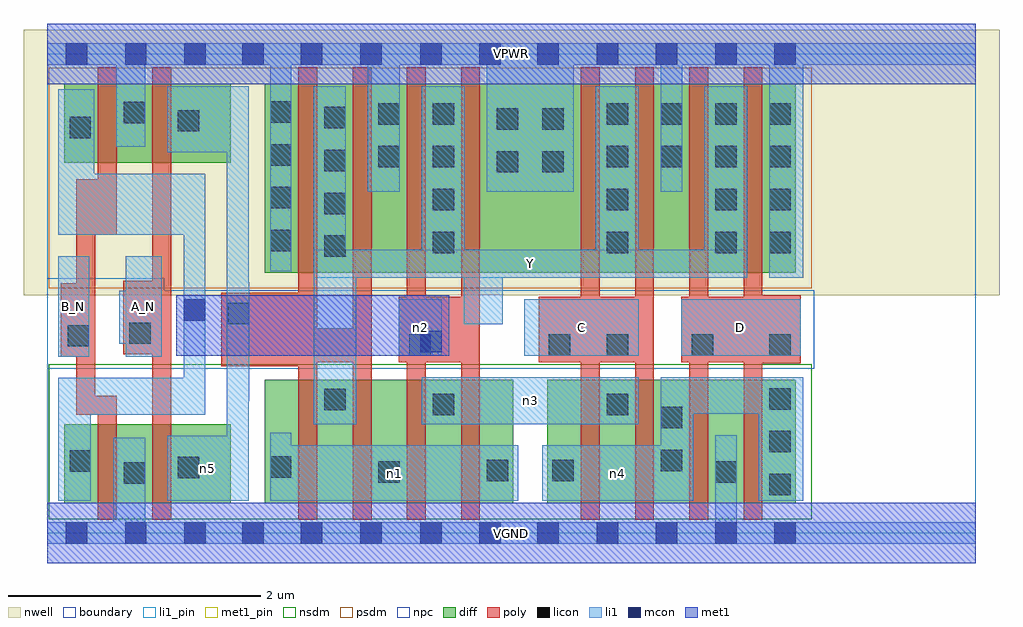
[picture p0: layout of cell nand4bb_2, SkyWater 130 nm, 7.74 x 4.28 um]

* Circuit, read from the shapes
.subckt nand4bb_2 A_N B_N C D VGND VPWR Y n1 n2 n3 n4 n5
XM1 VGND B_N n2 VSUBS sky130_fd_pr__nfet_01v8 w=0.63 l=0.15
XM2 n5 A_N VGND VSUBS sky130_fd_pr__nfet_01v8 w=0.63 l=0.15
XM3 Y n5 n1 VSUBS sky130_fd_pr__nfet_01v8 w=0.98 l=0.15 m=2
XM4 n3 n2 n1 VSUBS sky130_fd_pr__nfet_01v8 w=0.98 l=0.15 m=2
XM5 n3 C n4 VSUBS sky130_fd_pr__nfet_01v8 w=0.98 l=0.15 m=2
XM6 VGND D n4 VSUBS sky130_fd_pr__nfet_01v8 w=0.98 l=0.15 m=2
XM7 VPWR B_N n2 n6 sky130_fd_pr__pfet_01v8 w=0.63 l=0.15
XM8 n5 A_N VPWR n6 sky130_fd_pr__pfet_01v8 w=0.63 l=0.15
XM9 Y n5 VPWR n6 sky130_fd_pr__pfet_01v8 w=1.5 l=0.15 m=2
XM10 Y n2 VPWR n6 sky130_fd_pr__pfet_01v8 w=1.5 l=0.15 m=2
XM11 Y C VPWR n6 sky130_fd_pr__pfet_01v8 w=1.5 l=0.15 m=2
XM12 Y D VPWR n6 sky130_fd_pr__pfet_01v8 w=1.5 l=0.15 m=2
.ends

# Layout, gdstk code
import gdstk
lib = gdstk.Library(unit=1e-6, precision=1e-09)
def R(c, l, rs):  # rectangles x0, y0, x1, y1
    for r in rs: c.add(gdstk.rectangle(r[:2], r[2:], *l))
def A(c, l, x, y, w, h, nx, ny, dx, dy):  # array of equal rectangles
    R(c, l, [(x+i*dx, y+j*dy, x+i*dx+w, y+j*dy+h) for i in range(nx) for j in range(ny)])
nwell = (64, 20)
diff = (65, 20)
poly = (66, 20)
licon = (66, 44)
li1_pin = (67, 16)
li1 = (67, 20)
mcon = (67, 44)
met1_pin = (68, 16)
met1 = (68, 20)
nsdm = (93, 44)
psdm = (94, 20)
npc = (95, 20)
boundary = (235, 4)

nand4bb_2 = lib.new_cell('nand4bb_2')
R(nand4bb_2, nwell, [(-0.19,1.885,7.55,3.99), (0,1.885,7.36,3.99)])
R(nand4bb_2, diff, [(0.135,0.235,1.455,0.865), (1.725,0.235,3.695,1.215), (3.965,0.235,5.935,1.215), (1.725,2.065,5.935,3.565), (0.135,2.935,1.455,3.565)])
A(nand4bb_2, poly, 1.99, 0.105, 0.15, 3.59, 4, 1, 0.43, 0)
A(nand4bb_2, poly, 4.23, 0.105, 0.15, 3.59, 4, 1, 0.43, 0)
R(nand4bb_2, poly, [(0.4,0.105,0.55,1.09), (0.83,0.105,0.98,3.695), (0.23,0.94,0.38,2.805), (0.23,0.94,0.55,1.09), (1.38,1.325,2.14,1.905), (5.52,1.345,5.975,1.885), (1.38,1.355,2.57,1.625), (2.785,1.355,3.43,1.875), (3.895,1.355,4.81,1.875), (5.025,1.355,5.975,1.875), (0.105,1.4,0.38,1.98), (0.6,1.42,0.98,2), (0.23,2.365,0.55,2.805), (0.4,2.365,0.55,3.695)])
A(nand4bb_2, licon, 5.725, 0.3, 0.17, 0.17, 1, 3, 0, 0.34)
A(nand4bb_2, licon, 2.195, 2.19, 0.17, 0.17, 1, 4, 0, 0.34)
A(nand4bb_2, licon, 3.055, 2.22, 0.17, 0.17, 1, 4, 0, 0.34)
A(nand4bb_2, licon, 1.765, 2.235, 0.17, 0.17, 1, 4, 0, 0.34)
A(nand4bb_2, licon, 4.435, 2.9, 0.17, 0.17, 4, 2, 0.43, 0.34)
R(nand4bb_2, licon, [(0.605,0.39,0.775,0.56), (2.625,0.4,2.795,0.57), (5.295,0.4,5.465,0.57), (3.485,0.41,3.655,0.58), (4.005,0.41,4.175,0.58), (1.035,0.435,1.205,0.605), (1.765,0.44,1.935,0.61), (0.175,0.485,0.345,0.655), (4.865,0.49,5.035,0.66), (4.865,0.83,5.035,1), (3.055,0.935,3.225,1.105), (4.435,0.935,4.605,1.105), (2.195,0.975,2.365,1.145), (2.87,1.405,3.04,1.575), (3.975,1.405,4.145,1.575), (4.435,1.405,4.605,1.575), (5.11,1.405,5.28,1.575), (5.725,1.405,5.895,1.575), (0.16,1.48,0.33,1.65), (0.65,1.5,0.82,1.67), (1.43,1.655,1.6,1.825), (4.435,2.22,4.605,2.39), (5.295,2.22,5.465,2.39), (5.725,2.22,5.895,2.39), (4.435,2.56,4.605,2.73), (5.295,2.56,5.465,2.73), (5.725,2.56,5.895,2.73), (3.565,2.86,3.735,3.03), (3.925,2.86,4.095,3.03), (2.625,2.9,2.795,3.07), (0.175,3.13,0.345,3.3), (1.035,3.185,1.205,3.355), (3.565,3.2,3.735,3.37), (3.925,3.2,4.095,3.37), (2.625,3.24,2.795,3.41), (0.605,3.25,0.775,3.42)])
R(nand4bb_2, li1_pin, [(0.085,1.4,0.33,2.195), (0.62,1.4,0.905,2.195), (3.78,1.405,4.69,1.855), (5.025,1.405,5.975,1.855), (2.11,2.025,5.55,2.245)])
R(nand4bb_2, li1, [(0,-0.085,7.36,0.085), (0.52,-0.085,0.775,0.755), (5.295,-0.085,5.465,0.775), (0.085,0.255,0.345,1.23), (0.95,0.255,1.595,0.77), (1.42,0.255,1.595,3.545), (1.765,0.255,3.735,0.695), (1.765,0.255,1.935,0.795), (3.925,0.255,5.12,0.695), (4.865,0.255,5.12,1.235), (5.64,0.255,5.995,1.235), (2.11,0.865,2.365,3.545), (2.11,0.865,2.45,2.245), (2.97,0.865,4.69,1.235), (0.085,0.94,1.25,1.23), (1.08,0.94,1.25,2.85), (4.865,0.945,5.995,1.235), (1.42,1.045,1.6,1.99), (0.085,1.4,0.33,2.195), (0.62,1.4,0.905,2.195), (2.785,1.405,3.125,1.855), (3.78,1.405,4.69,1.855), (5.025,1.405,5.975,1.855), (0.57,1.5,0.905,1.92), (3.3,1.655,3.61,2.245), (2.11,2.025,5.55,2.245), (2.97,2.025,3.31,3.545), (4.35,2.025,4.69,3.545), (5.21,2.025,5.55,3.545), (5.725,2.025,5.995,3.885), (1.765,2.075,1.935,3.885), (0.085,2.365,1.25,2.85), (0.085,2.365,0.37,3.52), (2.54,2.705,2.795,3.885), (3.485,2.705,4.175,3.885), (4.865,2.705,5.035,3.885), (0.95,3.02,1.595,3.545), (0.545,3.065,0.775,3.885), (0,3.715,7.36,3.885)])
A(nand4bb_2, mcon, 0.145, -0.085, 0.17, 0.17, 3, 2, 0.47, 3.8)
A(nand4bb_2, mcon, 3.885, -0.085, 0.17, 0.17, 5, 2, 0.47, 3.8)
R(nand4bb_2, mcon, [(1.545,-0.085,1.715,0.085), (2.01,-0.085,2.18,0.085), (2.48,-0.085,2.65,0.085), (2.955,-0.085,3.125,0.085), (3.425,-0.085,3.595,0.085), (2.955,1.435,3.125,1.605), (1.08,1.685,1.25,1.855), (1.545,3.715,1.715,3.885), (2.01,3.715,2.18,3.885), (2.48,3.715,2.65,3.885), (2.955,3.715,3.125,3.885), (3.425,3.715,3.595,3.885)])
R(nand4bb_2, met1_pin, [(0,-0.24,7.36,0.24), (0,3.56,7.36,4.04)])
R(nand4bb_2, met1, [(0,-0.24,7.36,0.24), (1.02,1.405,3.185,1.885), (0,3.56,7.36,4.04)])
R(nand4bb_2, nsdm, [(0.01,0.11,6.06,1.34)])
R(nand4bb_2, psdm, [(0.01,1.94,6.06,3.69)])
R(nand4bb_2, npc, [(0,1.305,6.08,1.925), (0,1.305,0.925,2.02)])
R(nand4bb_2, boundary, [(0,0,7.36,3.8)])
nand4bb_2.add(gdstk.Label('A_N', (0.762,1.797), layer=67, texttype=5))
nand4bb_2.add(gdstk.Label('B_N', (0.207,1.797), layer=67, texttype=5))
nand4bb_2.add(gdstk.Label('C', (4.235,1.63), layer=67, texttype=5))
nand4bb_2.add(gdstk.Label('D', (5.5,1.63), layer=67, texttype=5))
nand4bb_2.add(gdstk.Label('Y', (3.83,2.135), layer=67, texttype=5))
nand4bb_2.add(gdstk.Label('n1', (2.75,0.475), layer=67, texttype=5))
nand4bb_2.add(gdstk.Label('n3', (3.83,1.05), layer=67, texttype=5))
nand4bb_2.add(gdstk.Label('n4', (4.522,0.475), layer=67, texttype=5))
nand4bb_2.add(gdstk.Label('n2', (2.955,1.63), layer=67, texttype=5))
nand4bb_2.add(gdstk.Label('n5', (1.272,0.512), layer=67, texttype=5))
nand4bb_2.add(gdstk.Label('VPWR', (3.68,3.8), layer=68, texttype=5))
nand4bb_2.add(gdstk.Label('VGND', (3.68,0), layer=68, texttype=5))
nand4bb_2.add(gdstk.Label('A_N', (0.762,1.797), layer=67, texttype=16))
nand4bb_2.add(gdstk.Label('B_N', (0.207,1.797), layer=67, texttype=16))
nand4bb_2.add(gdstk.Label('C', (4.235,1.63), layer=67, texttype=16))
nand4bb_2.add(gdstk.Label('D', (5.5,1.63), layer=67, texttype=16))
nand4bb_2.add(gdstk.Label('Y', (3.83,2.135), layer=67, texttype=16))
nand4bb_2.add(gdstk.Label('VPWR', (3.68,3.8), layer=68, texttype=16))
nand4bb_2.add(gdstk.Label('VGND', (3.68,0), layer=68, texttype=16))

lib.write_gds('nand4bb_2.gds')
